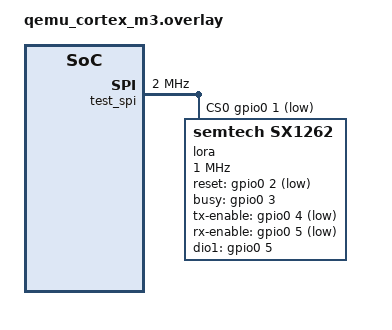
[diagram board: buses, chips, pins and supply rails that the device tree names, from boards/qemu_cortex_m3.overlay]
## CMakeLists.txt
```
# SPDX-License-Identifier: Apache-2.0

cmake_minimum_required(VERSION 3.20.0)

find_package(Zephyr REQUIRED HINTS $ENV{ZEPHYR_BASE})

project(sensor_lorawan_tests)

target_include_directories(app PRIVATE 
    ${CMAKE_CURRENT_SOURCE_DIR}/../../../app/include
)

target_sources(app PRIVATE src/main.c
    ${CMAKE_CURRENT_SOURCE_DIR}/../../../app/src/sensor_lorawan.c
)
```

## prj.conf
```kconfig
CONFIG_ZTEST=y

# General Zephyr settings needed for lorawan tests
CONFIG_MAIN_STACK_SIZE=2048
CONFIG_SYSTEM_WORKQUEUE_STACK_SIZE=2048
CONFIG_THREAD_NAME=y

# LoRaWAN settings
CONFIG_LORA=y
CONFIG_LORAWAN=y
CONFIG_LORAWAN_EMUL=y
CONFIG_LORAMAC_REGION_US915=y
# Turn off log messages for failed communication with non-existing LoRa PHY
CONFIG_LORA_LOG_LEVEL_OFF=y
```

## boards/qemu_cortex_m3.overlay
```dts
#include <zephyr/dt-bindings/lora/sx126x.h>
#include <zephyr/dt-bindings/gpio/gpio.h>

/ {

    aliases {
		lora0 = &lora;
    };

	test {
		#address-cells = <1>;
		#size-cells = <1>;

		test_spi: spi@33334444 {
			#address-cells = <1>;
			#size-cells = <0>;
			compatible = "vnd,spi";
			reg = <0x33334444 0x1000>;
			status = "okay";
			clock-frequency = <2000000>;

			cs-gpios = <&gpio0 1 GPIO_ACTIVE_LOW>;

			lora: lora@0 {
				compatible = "semtech,sx1262";
				status = "okay";
				reg = <0>;
				reset-gpios = <&gpio0 2 GPIO_ACTIVE_LOW>;
				busy-gpios = <&gpio0 3 GPIO_ACTIVE_HIGH>;
				tx-enable-gpios = <&gpio0 4 GPIO_ACTIVE_LOW>;
				rx-enable-gpios = <&gpio0 5 GPIO_ACTIVE_LOW>;
				dio1-gpios = <&gpio0 5 GPIO_ACTIVE_HIGH>;
				dio2-tx-enable;
				dio3-tcxo-voltage = <SX126X_DIO3_TCXO_3V3>;
				tcxo-power-startup-delay-ms = <5>;
				spi-max-frequency = <1000000>;
			};
		};
	};
};
```

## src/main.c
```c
/*
 * Copyright (c) 2016 Intel Corporation
 *
 * SPDX-License-Identifier: Apache-2.0
 * Tests:
 * - lorawan_setup_fails
 * - lorawan_setup can be called multiple times
 * - lorawan_setup_fails_only_first_try
 * - give out dev nonce requirement
 * - give way to end join attempts early
 */

#include <zephyr/ztest.h>
#include <zephyr/fff.h>

#include <stdint.h>
#include <string.h>

#include "sensor_lorawan.h"
#include <zephyr/lorawan/lorawan.h>
#include <zephyr/lorawan/emul.h>

#define DEV_EUI {0x00, 0x80, 0xE1, 0x15, 0x00, 0x56, 0x9E, 0x08}
#define JOIN_EUI {0x60, 0x81, 0xF9, 0x1D, 0xE0, 0x47, 0x30, 0xAB}
#define APP_KEY {0xE1, 0x0E, 0x13, 0x72, 0xD6, 0xA4, 0x19, 0x95, 0x0C, 0x88, 0x19, 0x41, 0x04, 0x0D, 0x58, 0x03}

static uint8_t test_dev_eui[8] = DEV_EUI;
static uint8_t test_join_eui[8] = JOIN_EUI;
static uint8_t test_app_key[16] = APP_KEY;

static lorawan_setup_t setup = {
    .lora_dev = DEVICE_DT_GET(DT_ALIAS(lora0)),
    .uplink_class = LORAWAN_CLASS_A,
    .downlink_callback = NULL,
    .join_attempts = 3,
    .dev_nonce = 0,
    .delay = 1000,
    .dev_eui = DEV_EUI,
    .join_eui = JOIN_EUI,
    .app_key = APP_KEY,
};

static bool last_downlink_called;
static uint8_t last_downlink_port;
static uint8_t last_downlink_len;
static uint8_t last_downlink_data[64];

/**
 * @brief Call after each test
 * 
 */
static void *after_tests(void)
{
	// Reset all sensors to correct values after each test
    memcpy(setup.app_key, test_app_key, sizeof(test_app_key));    
	memcpy(setup.dev_eui, test_dev_eui, sizeof(test_dev_eui));
	memcpy(setup.join_eui, test_join_eui, sizeof(test_join_eui));
    setup.uplink_class = LORAWAN_CLASS_A;
}


static void *testsuite_setup(void)
{
    int ret;
    ret = is_lorawan_connected();
    zassert_equal(ret, 0, "lorawan is not connected before setup");
}

ZTEST_SUITE(lorawan, NULL, testsuite_setup, NULL, after_tests, NULL);

/**
 * @brief Test lorawan_setup with correct parameters
 */
ZTEST(lorawan, test_setup)
{
	int ret;
    ret = sensor_lorawan_setup(&setup);
    zassert_equal(ret, 0, "lorawan_setup failed: %d", ret);
}

/**
 * @brief Test lorawan_setup with correct parameters
 */
ZTEST(lorawan, test_setup_fails_when_invalid_uplink_class)
{
	int ret;
    setup.uplink_class = 5;
    ret = sensor_lorawan_setup(&setup);
    zassert_not_ok(ret, "lorawan_setup should fail");
}


/**
 * @brief Test is_lorawan_connected after lorawan_setup
 */
ZTEST(lorawan, test_is_lorawan_connected)
{
	int ret;
    ret = sensor_lorawan_setup(&setup);
    zassert_equal(ret, 0, "lorawan_setup failed: %d", ret);
	ret = is_lorawan_connected();
	zassert_equal(ret, 1, "lorawan is not connected after setup");
}

/**
 * @brief Test lorawan_setup fails when no dev_eui
 */
ZTEST(lorawan, test_setup_fails_when_no_dev_eui)
{
    int ret;
    uint8_t dev_eui[8] = {0x00, 0x00, 0x00, 0x00, 0x00, 0x00, 0x00, 0x00};
    memcpy(setup.dev_eui, dev_eui, sizeof(dev_eui));
    ret = sensor_lorawan_setup(&setup);
    zassert_not_ok(ret, "lorawan_setup should fail");
}

/**
 * @brief Test lorawan_setup fails when no join_eui
 */
ZTEST(lorawan, test_setup_fails_when_no_join_eui)
{
    int ret;
    uint8_t join_eui[8] = {0x00, 0x00, 0x00, 0x00, 0x00, 0x00, 0x00, 0x00};
    memcpy(setup.join_eui, join_eui, sizeof(join_eui));
    ret = sensor_lorawan_setup(&setup);
    zassert_not_ok(ret, "lorawan_setup should fail");
}

/**
 * @brief Test lorawan_setup fails when no app_key
 */
ZTEST(lorawan, test_setup_fails_when_no_app_key)
{
    int ret;
    uint8_t app_key[16] = {0x00, 0x00, 0x00, 0x00, 0x00, 0x00, 0x00, 0x00, 0x00, 0x00, 0x00, 0x00, 0x00, 0x00, 0x00, 0x00};
    memcpy(setup.app_key, app_key, sizeof(app_key));
    
    ret = sensor_lorawan_setup(&setup);
    zassert_not_ok(ret, "lorawan_setup should fail");
}

/**
 * @brief Test lorawan_setup fails when no dev_eui and join_eui
 */
ZTEST(lorawan, test_setup_fails_when_no_dev_eui_and_join_eui)
{
    int ret;
    uint8_t dev_eui[8] = {0x00, 0x00, 0x00, 0x00, 0x00, 0x00, 0x00, 0x00};
    uint8_t join_eui[8] = {0x00, 0x00, 0x00, 0x00, 0x00, 0x00, 0x00, 0x00};
    memcpy(setup.dev_eui, dev_eui, sizeof(dev_eui));
    memcpy(setup.join_eui, join_eui, sizeof(join_eui));
    ret = sensor_lorawan_setup(&setup);
    zassert_not_ok(ret, "lorawan_setup should fail");
}

/**
 * @brief Test lorawan_send_data with correct parameters
 */
ZTEST(lorawan, test_send_packet)
{
    int ret;
    ret = sensor_lorawan_setup(&setup);
    zassert_equal(ret, 0, "lorawan_setup failed: %d", ret);
    int i = 0;
    lorawan_data_t lorawan_data;
    lorawan_data.data[i++] = "H";
    lorawan_data.data[i++] = "e";
    lorawan_data.data[i++] = "l";
    lorawan_data.data[i++] = "l";
    lorawan_data.data[i++] = "o";
    lorawan_data.length = i;
    lorawan_data.port = 2;
    lorawan_data.attempts = 0;
    ret = sensor_lorawan_send_data(&lorawan_data);
    zassert_ok(ret, "lorawan_send_data failed: %d", ret);
}

/**
 * @brief Test lorawan_send_data fails when no data
 */
ZTEST(lorawan, test_send_data_fails_when_no_data)
{
    int ret;
    ret = sensor_lorawan_setup(&setup);
    zassert_equal(ret, 0, "lorawan_setup failed: %d", ret);
    lorawan_data_t lorawan_data;
    lorawan_data.data[0] = NULL;
    lorawan_data.length = 0;
    lorawan_data.port = 1;
    lorawan_data.attempts = 0;
    ret = sensor_lorawan_send_data(&lorawan_data);
    zassert_not_ok(ret, "lorawan_send_data should fail");
}

/**
 * @brief Test lorawan_send_data resets data after send
 */
ZTEST(lorawan, test_send_data_resets_data_afer_send)
{
    int ret;
    ret = sensor_lorawan_setup(&setup);
    zassert_equal(ret, 0, "lorawan_setup failed: %d", ret);
    int i = 0;
    lorawan_data_t lorawan_data;
    lorawan_data.data[i++] = "H";
    lorawan_data.data[i++] = "e";
    lorawan_data.data[i++] = "l";
    lorawan_data.data[i++] = "l";
    lorawan_data.data[i++] = "o";
    lorawan_data.length = i;
    lorawan_data.port = 1;
    lorawan_data.attempts = 0;
    lorawan_data.delay = 1000;
    ret = sensor_lorawan_send_data(&lorawan_data);
    zassert_ok(ret, "lorawan_send_data failed: %d", ret);
    zassert_is_null(lorawan_data.data[0], "lorawan_data.data should be NULL");
    zassert_equal(lorawan_data.length, 0, "lorawan_data.length should be 0");
}

/**
 * @brief Test lorawan_send_data with confirmed message
 */
ZTEST(lorawan, test_send_data_confirmed)
{
    int ret;
    ret = sensor_lorawan_setup(&setup);
    zassert_equal(ret, 0, "lorawan_setup failed: %d", ret);
    int i = 0;
    lorawan_data_t lorawan_data;
    lorawan_data.data[i++] = "H";
    lorawan_data.data[i++] = "e";
    lorawan_data.data[i++] = "l";
    lorawan_data.data[i++] = "l";
    lorawan_data.data[i++] = "o";
    lorawan_data.length = i;
    lorawan_data.port = 2;
    lorawan_data.attempts = 1;
    lorawan_data.delay = 1000;
    ret = sensor_lorawan_send_data(&lorawan_data);
    zassert_ok(ret, "lorawan_send_data failed: %d", ret);
}

/**
 * @brief Test downlink callback
 */
static void dl_callback(uint8_t port, bool data_pending, int16_t rssi, int8_t snr, uint8_t len, const uint8_t *data)
{
    last_downlink_called = true;
    last_downlink_port = port;
    last_downlink_len = len;
    memcpy(last_downlink_data, data, len);
}

/**
 * @brief Test if the downlink callback functions correctly
 */
ZTEST(lorawan, test_send_data_downlink_callback)
{
    int ret;
    setup.downlink_callback.cb = dl_callback;
    setup.downlink_callback.port = LW_RECV_PORT_ANY;

    ret = sensor_lorawan_setup(&setup);
    zassert_equal(ret, 0, "lorawan_setup failed: %d", ret);

    const uint8_t *payload = "Hello";
    uint8_t downlink_port = 1;
    lorawan_emul_send_downlink(downlink_port, true, 0, 0, strlen(payload), payload);
    // Assert
    zassert_true(last_downlink_called, "Downlink callback was not called");
    zassert_equal(last_downlink_port, downlink_port, "Wrong port");
    zassert_equal(last_downlink_len, strlen(payload), "Wrong length");
    zassert_mem_equal(last_downlink_data, payload, strlen(payload), "Wrong data");
}

/**
 * @brief Test if the lorawan is configured
 */
ZTEST(lorawan, test_is_lorawan_configured)
{
    int ret;
    ret = is_lorawan_configured(&setup);
    zassert_equal(ret, 0, "lorawan is not configured");
}   

/**
 * @brief Test if the lorawan is not configured
 */
ZTEST(lorawan, test_is_lorawan_configured_fails_when_no_dev_eui)
{
    int ret;
    uint8_t dev_eui[8] = {0x00, 0x00, 0x00, 0x00, 0x00, 0x00, 0x00, 0x00};
    uint8_t join_eui[8] = {0x00, 0x00, 0x00, 0x00, 0x00, 0x00, 0x00, 0x00};
    uint8_t app_key[16] = {0x00, 0x00, 0x00, 0x00, 0x00, 0x00, 0x00, 0x00, 0x00, 0x00, 0x00, 0x00, 0x00, 0x00, 0x00, 0x00};
    memcpy(setup.dev_eui, dev_eui, sizeof(dev_eui));
    memcpy(setup.join_eui, join_eui, sizeof(join_eui));
    memcpy(setup.app_key, app_key, sizeof(app_key));
    ret = is_lorawan_configured(&setup);
    zassert_not_ok(ret, "lorawan is configured when it should not be");
}
```
